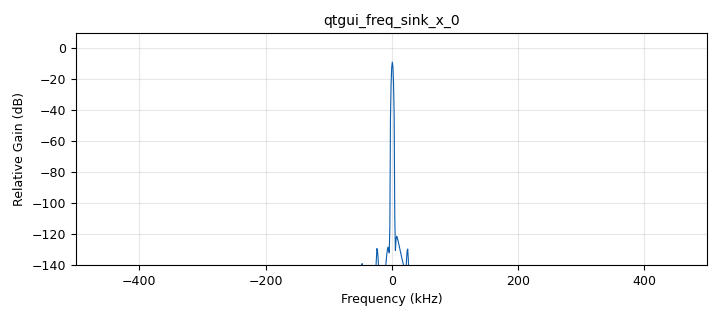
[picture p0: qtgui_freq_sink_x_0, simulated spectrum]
options:
  parameters:
    generate_options: qt_gui
    id: test_udp_sink
    output_language: python
  states: {}

blocks:
- name: center_freq
  id: variable
  parameters:
    value: 1691e6
  states: {}
- name: samp_rate
  id: variable
  parameters:
    value: 1e6
  states: {}
- name: analog_sig_source_x_0
  id: analog_sig_source_x
  parameters:
    amp: '1'
    freq: '1000'
    offset: '0'
    phase: '0'
    samp_rate: samp_rate
    type: complex
    waveform: analog.GR_COS_WAVE
  states: {}
- name: blocks_message_debug_0
  id: blocks_message_debug
  parameters: {}
  states: {state: disabled}
- name: blocks_probe_rate_0
  id: blocks_probe_rate
  parameters:
    alpha: '0.15'
    mintime: '500.0'
    type: complex
  states: {state: disabled}
- name: blocks_throttle_0
  id: blocks_throttle
  parameters:
    samples_per_second: samp_rate
    type: complex
  states: {}
- name: grnet_udp_sink_0
  id: grnet_udp_sink
  parameters:
    addr: 127.0.0.1
    header: '0'
    payloadsize: '1472'
    port: '2001'
    send_eof: 'False'
    type: complex
  states: {}
- name: qtgui_freq_sink_x_0
  id: qtgui_freq_sink_x
  parameters:
    bw: samp_rate
    fc: '0'
    fftsize: '1024'
    showports: 'True'
    type: complex
    wintype: firdes.WIN_BLACKMAN_hARRIS
  states: {}

connections:
- [analog_sig_source_x_0, '0', blocks_throttle_0, '0']
- [blocks_probe_rate_0, rate, blocks_message_debug_0, print]
- [blocks_throttle_0, '0', blocks_probe_rate_0, '0']
- [blocks_throttle_0, '0', grnet_udp_sink_0, '0']
- [blocks_throttle_0, '0', qtgui_freq_sink_x_0, '0']

metadata:
  file_format: 1
